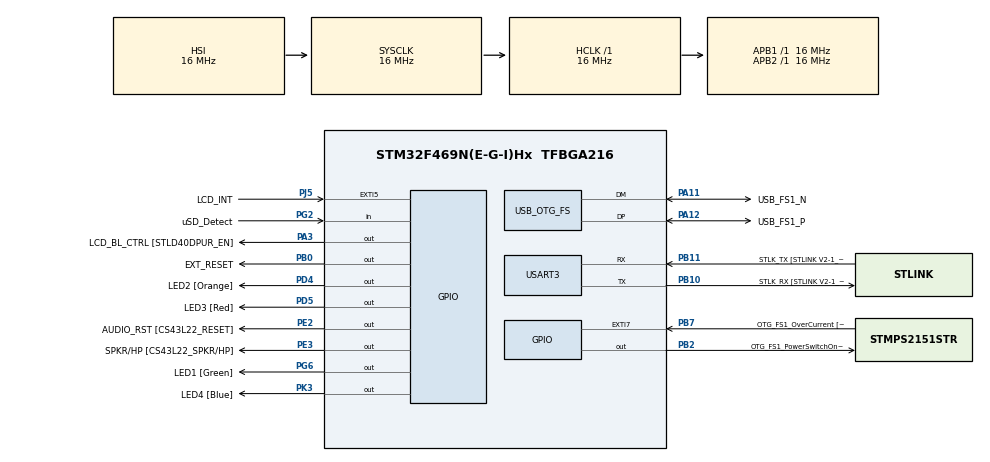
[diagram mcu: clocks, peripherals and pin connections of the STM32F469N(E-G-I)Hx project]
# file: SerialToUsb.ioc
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DSIHOST_CKN.GPIO_Label=DSI_CK_N
DSIHOST_CKN.Signal=DSIHOST_CKN
DSIHOST_CKP.GPIO_Label=DSI_CK_P
DSIHOST_CKP.Signal=DSIHOST_CKP
DSIHOST_D0N.GPIO_Label=DSI_D0_N
DSIHOST_D0N.Signal=DSIHOST_D0N
DSIHOST_D0P.GPIO_Label=DSI_D0_P
DSIHOST_D0P.Signal=DSIHOST_D0P
DSIHOST_D1N.GPIO_Label=DSI_D1_N
DSIHOST_D1N.Signal=DSIHOST_D1N
DSIHOST_D1P.GPIO_Label=DSI_D1_P
DSIHOST_D1P.Signal=DSIHOST_D1P
Mcu.Family=STM32F4
Mcu.Name=STM32F469N(E-G-I)Hx
Mcu.Package=TFBGA216
NVIC.OTG_FS_IRQn=true\:0\:0\:false\:false\:true
NVIC.PriorityGroup=NVIC_PRIORITYGROUP_4
PA0/WKUP.GPIO_Label=WAKEUP [B2]
PA0/WKUP.Signal=SYS_WKUP
PA10.GPIO_Label=USB_FS1_ID
PA10.GPIO_Mode=GPIO_MODE_AF_PP
PA10.GPIO_PuPd=GPIO_NOPULL
PA10.GPIO_Speed=GPIO_SPEED_FREQ_VERY_HIGH
PA10.Signal=USB_OTG_FS_ID
PA11.GPIO_Label=USB_FS1_N
PA11.GPIO_Mode=GPIO_MODE_AF_PP
PA11.GPIO_PuPd=GPIO_NOPULL
PA11.GPIO_Speed=GPIO_SPEED_FREQ_VERY_HIGH
PA11.Mode=Device_Only
PA11.Signal=USB_OTG_FS_DM
PA12.GPIO_Label=USB_FS1_P
PA12.GPIO_Mode=GPIO_MODE_AF_PP
PA12.GPIO_PuPd=GPIO_NOPULL
PA12.GPIO_Speed=GPIO_SPEED_FREQ_VERY_HIGH
PA12.Mode=Device_Only
PA12.Signal=USB_OTG_FS_DP
PA13.GPIO_Label=SWDIO
PA13.Signal=SYS_JTMS-SWDIO
PA14.GPIO_Label=SWCLK
PA14.Signal=SYS_JTCK-SWCLK
PA3.GPIO_Label=LCD_BL_CTRL [STLD40DPUR_EN]
PA3.Signal=GPIO_Output
PA9.GPIO_Label=VBUS_FS1
PA9.GPIO_Mode=GPIO_MODE_AF_PP
PA9.GPIO_PuPd=GPIO_NOPULL
PA9.GPIO_Speed=GPIO_SPEED_FREQ_VERY_HIGH
PA9.Signal=USB_OTG_FS_VBUS
PB0.GPIO_Label=EXT_RESET
PB0.Signal=GPIO_Output
PB10.GPIO_Label=STLK_RX [STLINK V2-1_U2_RX]
PB10.Mode=Asynchronous
PB10.Signal=USART3_TX
PB11.GPIO_Label=STLK_TX [STLINK V2-1_U2_TX]
PB11.Mode=Asynchronous
PB11.Signal=USART3_RX
PB2/BOOT1.GPIO_Label=OTG_FS1_PowerSwitchOn [STMPS2151STR_En]
PB2/BOOT1.Signal=GPIO_Output
PB3.GPIO_Label=I2S3_CK
PB3.GPIO_Mode=GPIO_MODE_AF_PP
PB3.GPIO_PuPd=GPIO_NOPULL
PB3.GPIO_Speed=GPIO_SPEED_FREQ_LOW
PB3.Signal=I2S3_CK
PB6.GPIO_Label=QSPI_BK1_NCS [N25Q128A13EF840F_S]
PB6.GPIO_Mode=GPIO_MODE_AF_PP
PB6.GPIO_PuPd=GPIO_NOPULL
PB6.GPIO_Speed=GPIO_SPEED_FREQ_VERY_HIGH
PB6.Signal=QUADSPI_BK1_NCS
PB7.GPIO_Label=OTG_FS1_OverCurrent [STMPS2151STR_FAULT]
PB7.GPIO_ModeDefaultEXTI=GPIO_MODE_IT_RISING
PB7.GPIO_PuPd=GPIO_NOPULL
PB7.Signal=GPXTI7
PB8.GPIO_Label=I2C1_SCL
PB8.GPIO_Mode=GPIO_MODE_AF_OD
PB8.GPIO_PuPdOD=GPIO_PULLUP
PB8.GPIO_Speed=GPIO_SPEED_FREQ_VERY_HIGH
PB8.Signal=I2C1_SCL
PB9.GPIO_Label=I2C1_SDA
PB9.GPIO_Mode=GPIO_MODE_AF_OD
PB9.GPIO_PuPdOD=GPIO_PULLUP
PB9.GPIO_Speed=GPIO_SPEED_FREQ_VERY_HIGH
PB9.Signal=I2C1_SDA
PC0.GPIO_Label=SDNWE [MT48LC4M32B2B5-6A_WE]
PC0.Signal=FMC_SDNWE
PC10.GPIO_Label=uSD_D2
PC10.GPIO_Mode=GPIO_MODE_AF_PP
PC10.GPIO_PuPd=GPIO_NOPULL
PC10.GPIO_Speed_High_Default=GPIO_SPEED_FREQ_VERY_HIGH
PC10.Signal=SDIO_D2
PC11.GPIO_Label=uSD_D3
PC11.GPIO_Mode=GPIO_MODE_AF_PP
PC11.GPIO_PuPd=GPIO_NOPULL
PC11.GPIO_Speed_High_Default=GPIO_SPEED_FREQ_VERY_HIGH
PC11.Signal=SDIO_D3
PC12.GPIO_Label=uSD_CLK
PC12.GPIO_Mode=GPIO_MODE_AF_PP
PC12.GPIO_PuPd=GPIO_NOPULL
PC12.GPIO_Speed_High_Default=GPIO_SPEED_FREQ_VERY_HIGH
PC12.Signal=SDIO_CK
PC14/OSC32_IN.Signal=RCC_OSC32_IN
PC15/OSC32_OUT.Signal=RCC_OSC32_OUT
PC8.GPIO_Label=uSD_D0
PC8.GPIO_Mode=GPIO_MODE_AF_PP
PC8.GPIO_PuPd=GPIO_NOPULL
PC8.GPIO_Speed_High_Default=GPIO_SPEED_FREQ_VERY_HIGH
PC8.Signal=SDIO_D0
PC9.GPIO_Label=uSD_D1
PC9.GPIO_Mode=GPIO_MODE_AF_PP
PC9.GPIO_PuPd=GPIO_NOPULL
PC9.GPIO_Speed_High_Default=GPIO_SPEED_FREQ_VERY_HIGH
PC9.Signal=SDIO_D1
PD0.GPIO_Label=D2
PD0.GPIO_Mode=GPIO_MODE_AF_PP
PD0.GPIO_PuPd=GPIO_NOPULL
PD0.GPIO_Speed_High_Default=GPIO_SPEED_FREQ_VERY_HIGH
PD0.Signal=FMC_D2_DA2
PD1.GPIO_Label=D3
PD1.GPIO_Mode=GPIO_MODE_AF_PP
PD1.GPIO_PuPd=GPIO_NOPULL
PD1.GPIO_Speed_High_Default=GPIO_SPEED_FREQ_VERY_HIGH
PD1.Signal=FMC_D3_DA3
PD10.GPIO_Label=D15
PD10.Signal=FMC_D15_DA15
PD13.GPIO_Label=MIC_CK [MP34DT01TR_CLK]
PD13.Signal=S_TIM4_CH2
PD14.GPIO_Label=D0
PD14.Signal=FMC_D0_DA0
PD15.GPIO_Label=D1
PD15.Signal=FMC_D1_DA1
PD2.GPIO_Label=uSD_CMD
PD2.GPIO_Mode=GPIO_MODE_AF_PP
PD2.GPIO_PuPd=GPIO_NOPULL
PD2.GPIO_Speed_High_Default=GPIO_SPEED_FREQ_VERY_HIGH
PD2.Signal=SDIO_CMD
PD4.GPIO_Label=LED2 [Orange]
PD4.GPIO_ModeDefaultOutputPP=GPIO_MODE_OUTPUT_OD
PD4.GPIO_PuPd=GPIO_NOPULL
PD4.GPIO_Speed=GPIO_SPEED_FREQ_LOW
PD4.Signal=GPIO_Output
PD5.GPIO_Label=LED3 [Red]
PD5.GPIO_ModeDefaultOutputPP=GPIO_MODE_OUTPUT_OD
PD5.GPIO_PuPd=GPIO_NOPULL
PD5.GPIO_Speed=GPIO_SPEED_FREQ_LOW
PD5.Signal=GPIO_Output
PD6.GPIO_Label=MIC_DATA [MP34DT01TR_DOUT]
PD6.GPIO_Mode=GPIO_MODE_AF_PP
PD6.GPIO_PuPd=GPIO_NOPULL
PD6.GPIO_Speed=GPIO_SPEED_FREQ_LOW
PD6.Signal=SAI1_SD_A
PD8.GPIO_Label=D13
PD8.Signal=FMC_D13_DA13
PD9.GPIO_Label=D14
PD9.Signal=FMC_D14_DA14
PE0.GPIO_Label=FMC_NBL0 [ MT48LC4M32B2B5-6A_DQM0]
PE0.GPIO_Mode=GPIO_MODE_AF_PP
PE0.GPIO_PuPd=GPIO_NOPULL
PE0.GPIO_Speed_High_Default=GPIO_SPEED_FREQ_VERY_HIGH
PE0.Signal=FMC_NBL0
PE1.GPIO_Label=FMC_NBL1 [ MT48LC4M32B2B5-6A_DQM1]
PE1.GPIO_Mode=GPIO_MODE_AF_PP
PE1.GPIO_PuPd=GPIO_NOPULL
PE1.GPIO_Speed_High_Default=GPIO_SPEED_FREQ_VERY_HIGH
PE1.Signal=FMC_NBL1
PE10.GPIO_Label=D7
PE10.Signal=FMC_D7_DA7
PE11.GPIO_Label=D8
PE11.Signal=FMC_D8_DA8
PE12.GPIO_Label=D9
PE12.Signal=FMC_D9_DA9
PE13.GPIO_Label=D10
PE13.Signal=FMC_D10_DA10
PE14.GPIO_Label=D11
PE14.Signal=FMC_D11_DA11
PE15.GPIO_Label=D12
PE15.Signal=FMC_D12_DA12
PE2.GPIO_Label=AUDIO_RST [CS43L22_RESET]
PE2.GPIO_ModeDefaultOutputPP=GPIO_MODE_OUTPUT_PP
PE2.GPIO_PuPd=GPIO_NOPULL
PE2.GPIO_Speed=GPIO_SPEED_FREQ_LOW
PE2.Signal=GPIO_Output
PE3.GPIO_Label=SPKR/HP [CS43L22_SPKR/HP]
PE3.GPIO_ModeDefaultOutputPP=GPIO_MODE_OUTPUT_PP
PE3.GPIO_PuPd=GPIO_NOPULL
PE3.GPIO_Speed=GPIO_SPEED_FREQ_LOW
PE3.Signal=GPIO_Output
PE4.GPIO_Label=SAI1_FSA [CS43L22_LRCK]
PE4.GPIO_Mode=GPIO_MODE_AF_PP
PE4.GPIO_PuPd=GPIO_NOPULL
PE4.GPIO_Speed=GPIO_SPEED_FREQ_LOW
PE4.Signal=SAI1_FS_A
PE5.GPIO_Label=SAI1_SCKA [CS43L22_CLK]
PE5.GPIO_Mode=GPIO_MODE_AF_PP
PE5.GPIO_PuPd=GPIO_NOPULL
PE5.GPIO_Speed=GPIO_SPEED_FREQ_LOW
PE5.Signal=SAI1_SCK_A
PE7.GPIO_Label=D4
PE7.Signal=FMC_D4_DA4
PE8.GPIO_Label=D5
PE8.Signal=FMC_D5_DA5
PE9.GPIO_Label=D6
PE9.Signal=FMC_D6_DA6
PF0.GPIO_Label=A0
PF0.GPIO_Mode=GPIO_MODE_AF_PP
PF0.GPIO_PuPd=GPIO_NOPULL
PF0.GPIO_Speed_High_Default=GPIO_SPEED_FREQ_VERY_HIGH
PF0.Signal=FMC_A0
PF1.GPIO_Label=A1
PF1.GPIO_Mode=GPIO_MODE_AF_PP
PF1.GPIO_PuPd=GPIO_NOPULL
PF1.GPIO_Speed_High_Default=GPIO_SPEED_FREQ_VERY_HIGH
PF1.Signal=FMC_A1
PF10.GPIO_Label=QSPI_CLK [N25Q128A13EF840F_C]
PF10.Signal=QUADSPI_CLK
PF11.GPIO_Label=SDNMT48LC4M32B2B5-6A_RAS]RAS [
PF11.Signal=FMC_SDNRAS
PF12.GPIO_Label=A6
PF12.Signal=FMC_A6
PF13.GPIO_Label=A7
PF13.Signal=FMC_A7
PF14.GPIO_Label=A8
PF14.Signal=FMC_A8
PF15.GPIO_Label=A9
PF15.Signal=FMC_A9
PF2.GPIO_Label=A2
PF2.GPIO_Mode=GPIO_MODE_AF_PP
PF2.GPIO_PuPd=GPIO_NOPULL
PF2.GPIO_Speed_High_Default=GPIO_SPEED_FREQ_VERY_HIGH
PF2.Signal=FMC_A2
PF3.GPIO_Label=A3
PF3.GPIO_Mode=GPIO_MODE_AF_PP
PF3.GPIO_PuPd=GPIO_NOPULL
PF3.GPIO_Speed_High_Default=GPIO_SPEED_FREQ_VERY_HIGH
PF3.Signal=FMC_A3
PF4.GPIO_Label=A4
PF4.GPIO_Mode=GPIO_MODE_AF_PP
PF4.GPIO_PuPd=GPIO_NOPULL
PF4.GPIO_Speed_High_Default=GPIO_SPEED_FREQ_VERY_HIGH
PF4.Signal=FMC_A4
PF5.GPIO_Label=A5
PF5.Signal=FMC_A5
PF6.GPIO_Label=QSPI_BK1_IO3 [N25Q128A13EF840F_DQ3]
PF6.Signal=QUADSPI_BK1_IO3
PF7.GPIO_Label=QSPI_BK1_IO2 [N25Q128A13EF840F_DQ2]
PF7.Signal=QUADSPI_BK1_IO2
PF8.GPIO_Label=QSPI_BK1_IO0 [N25Q128A13EF840F_DQ0]
PF8.Signal=QUADSPI_BK1_IO0
PF9.GPIO_Label=QSPI_BK1_IO1 [N25Q128A13EF840F_DQ1]
PF9.Signal=QUADSPI_BK1_IO1
PG0.GPIO_Label=A10
PG0.Signal=FMC_A10
PG1.GPIO_Label=A11
PG1.Signal=FMC_A11
PG14.GPIO_Label=ARDUINO USART6_TX
PG14.GPIO_Mode=GPIO_MODE_AF_PP
PG14.GPIO_PuPd=GPIO_NOPULL
PG14.GPIO_Speed=GPIO_SPEED_FREQ_VERY_HIGH
PG14.Signal=USART6_TX
PG15.GPIO_Label=SDNCAS [MT48LC4M32B2B5-6A_CAS]
PG15.GPIO_Mode=GPIO_MODE_AF_PP
PG15.GPIO_PuPd=GPIO_NOPULL
PG15.GPIO_Speed_High_Default=GPIO_SPEED_FREQ_VERY_HIGH
PG15.Signal=FMC_SDNCAS
PG2.GPIO_Label=uSD_Detect
PG2.Signal=GPIO_Input
PG4.Signal=FMC_A14_BA0
PG5.Signal=FMC_A15_BA1
PG6.GPIO_Label=LED1 [Green]
PG6.GPIO_ModeDefaultOutputPP=GPIO_MODE_OUTPUT_OD
PG6.GPIO_PuPd=GPIO_NOPULL
PG6.GPIO_Speed=GPIO_SPEED_FREQ_LOW
PG6.Signal=GPIO_Output
PG7.GPIO_Label=SAI1_MCLKA [CS43L22_MCLK]
PG7.GPIO_Mode=GPIO_MODE_AF_PP
PG7.GPIO_PuPd=GPIO_NOPULL
PG7.GPIO_Speed=GPIO_SPEED_FREQ_LOW
PG7.Signal=SAI1_MCLK_A
PG8.GPIO_Label=SDCLK [MT48LC4M32B2B5-6A_CLK]
PG8.GPIO_Mode=GPIO_MODE_AF_PP
PG8.GPIO_PuPd=GPIO_NOPULL
PG8.GPIO_Speed_High_Default=GPIO_SPEED_FREQ_VERY_HIGH
PG8.Signal=FMC_SDCLK
PG9.GPIO_Label=USART6_RX
PG9.GPIO_Mode=GPIO_MODE_AF_PP
PG9.GPIO_PuPd=GPIO_NOPULL
PG9.GPIO_Speed=GPIO_SPEED_FREQ_VERY_HIGH
PG9.Signal=USART6_RX
PH0/OSC_IN.Mode=HSE-External-Oscillator
PH0/OSC_IN.Signal=RCC_OSC_IN
PH1/OSC_OUT.Mode=HSE-External-Oscillator
PH1/OSC_OUT.Signal=RCC_OSC_OUT
PH10.GPIO_Label=D18
PH10.Signal=FMC_D18
PH11.GPIO_Label=D19
PH11.Signal=FMC_D19
PH12.GPIO_Label=D20
PH12.Signal=FMC_D20
PH13.GPIO_Label=D21
PH13.GPIO_Mode=GPIO_MODE_AF_PP
PH13.GPIO_PuPd=GPIO_NOPULL
PH13.GPIO_Speed_High_Default=GPIO_SPEED_FREQ_VERY_HIGH
PH13.Signal=FMC_D21
PH14.GPIO_Label=D22
PH14.GPIO_Mode=GPIO_MODE_AF_PP
PH14.GPIO_PuPd=GPIO_NOPULL
PH14.GPIO_Speed_High_Default=GPIO_SPEED_FREQ_VERY_HIGH
PH14.Signal=FMC_D22
PH15.GPIO_Label=D23
PH15.GPIO_Mode=GPIO_MODE_AF_PP
PH15.GPIO_PuPd=GPIO_NOPULL
PH15.GPIO_Speed_High_Default=GPIO_SPEED_FREQ_VERY_HIGH
PH15.Signal=FMC_D23
PH2.GPIO_Label=SDCKE0 [MT48LC4M32B2B5-6A_CKE]
PH2.Signal=FMC_SDCKE0
PH3.GPIO_Label=SDNE0 [MT48LC4M32B2B5-6A_CS]
PH3.GPIO_Mode=GPIO_MODE_AF_PP
PH3.GPIO_PuPd=GPIO_NOPULL
PH3.GPIO_Speed_High_Default=GPIO_SPEED_FREQ_VERY_HIGH
PH3.Signal=FMC_SDNE0
PH4.GPIO_Label=I2C2_SCL [CS43L22_SCL]
PH4.GPIO_Mode=GPIO_MODE_AF_OD
PH4.GPIO_PuPdOD=GPIO_PULLUP
PH4.GPIO_Speed=GPIO_SPEED_FREQ_VERY_HIGH
PH4.Signal=I2C2_SCL
PH5.GPIO_Label=I2C2_SDA [CS43L22_SDA]
PH5.GPIO_Mode=GPIO_MODE_AF_OD
PH5.GPIO_PuPdOD=GPIO_PULLUP
PH5.GPIO_Speed=GPIO_SPEED_FREQ_VERY_HIGH
PH5.Signal=I2C2_SDA
PH8.GPIO_Label=D16
PH8.Signal=FMC_D16
PH9.GPIO_Label=D17
PH9.Signal=FMC_D17
PI0.GPIO_Label=D24
PI0.GPIO_Mode=GPIO_MODE_AF_PP
PI0.GPIO_PuPd=GPIO_NOPULL
PI0.GPIO_Speed_High_Default=GPIO_SPEED_FREQ_VERY_HIGH
PI0.Signal=FMC_D24
PI1.GPIO_Label=D25
PI1.GPIO_Mode=GPIO_MODE_AF_PP
PI1.GPIO_PuPd=GPIO_NOPULL
PI1.GPIO_Speed_High_Default=GPIO_SPEED_FREQ_VERY_HIGH
PI1.Signal=FMC_D25
PI10.GPIO_Label=D31
PI10.GPIO_Mode=GPIO_MODE_AF_PP
PI10.GPIO_PuPd=GPIO_NOPULL
PI10.GPIO_Speed_High_Default=GPIO_SPEED_FREQ_VERY_HIGH
PI10.Signal=FMC_D31
PI2.GPIO_Label=D26
PI2.GPIO_Mode=GPIO_MODE_AF_PP
PI2.GPIO_PuPd=GPIO_NOPULL
PI2.GPIO_Speed_High_Default=GPIO_SPEED_FREQ_VERY_HIGH
PI2.Signal=FMC_D26
PI3.GPIO_Label=D27
PI3.GPIO_Mode=GPIO_MODE_AF_PP
PI3.GPIO_PuPd=GPIO_NOPULL
PI3.GPIO_Speed_High_Default=GPIO_SPEED_FREQ_VERY_HIGH
PI3.Signal=FMC_D27
PI4.GPIO_Label=FMC_NBL2 [MT48LC4M32B2B5-6A_DQM2]
PI4.GPIO_Mode=GPIO_MODE_AF_PP
PI4.GPIO_PuPd=GPIO_NOPULL
PI4.GPIO_Speed_High_Default=GPIO_SPEED_FREQ_VERY_HIGH
PI4.Signal=FMC_NBL2
PI5.GPIO_Label=FMC_NBL3 [MT48LC4M32B2B5-6A_DQM3]
PI5.GPIO_Mode=GPIO_MODE_AF_PP
PI5.GPIO_PuPd=GPIO_NOPULL
PI5.GPIO_Speed_High_Default=GPIO_SPEED_FREQ_VERY_HIGH
PI5.Signal=FMC_NBL3
PI6.GPIO_Label=D28
PI6.GPIO_Mode=GPIO_MODE_AF_PP
PI6.GPIO_PuPd=GPIO_NOPULL
PI6.GPIO_Speed_High_Default=GPIO_SPEED_FREQ_VERY_HIGH
PI6.Signal=FMC_D28
PI7.GPIO_Label=D29
PI7.GPIO_Mode=GPIO_MODE_AF_PP
PI7.GPIO_PuPd=GPIO_NOPULL
PI7.GPIO_Speed_High_Default=GPIO_SPEED_FREQ_VERY_HIGH
PI7.Signal=FMC_D29
PI9.GPIO_Label=D30
PI9.GPIO_Mode=GPIO_MODE_AF_PP
PI9.GPIO_PuPd=GPIO_NOPULL
PI9.GPIO_Speed_High_Default=GPIO_SPEED_FREQ_VERY_HIGH
PI9.Signal=FMC_D30
PJ2.GPIO_Label=DSI_TE
PJ2.Signal=DSIHOST_TE
PJ5.GPIO_Label=LCD_INT
PJ5.Signal=GPXTI5
PK3.GPIO_Label=LED4 [Blue]
PK3.GPIO_ModeDefaultOutputPP=GPIO_MODE_OUTPUT_OD
PK3.GPIO_PuPd=GPIO_NOPULL
PK3.GPIO_Speed=GPIO_SPEED_FREQ_LOW
PK3.Signal=GPIO_Output
ProjectManager.HeapSize=0x200
ProjectManager.StackSize=0x400
ProjectManager.TargetToolchain=SW4STM32
RCC.AHBFreq_Value=16000000
RCC.APB1Freq_Value=16000000
RCC.APB1TimFreq_Value=16000000
RCC.APB2Freq_Value=16000000
RCC.APB2TimFreq_Value=16000000
RCC.CortexFreq_Value=16000000
RCC.HCLKFreq_Value=16000000
RCC.HSE_VALUE=8000000
RCC.PLLM=4
RCC.PLLN=72
RCC.PLLQ=3
RCC.SYSCLKFreq_VALUE=16000000
RCC.USBFreq_Value=48000000
RCC.VCOOutputFreq_Value=144000000
SH.FMC_A0.0=FMC_A0
SH.FMC_A1.0=FMC_A1
SH.FMC_A10.0=FMC_A10
SH.FMC_A11.0=FMC_A11
SH.FMC_A14_BA0.0=FMC_BA0
SH.FMC_A15_BA1.0=FMC_BA1
SH.FMC_A2.0=FMC_A2
SH.FMC_A3.0=FMC_A3
SH.FMC_A4.0=FMC_A4
SH.FMC_A5.0=FMC_A5
SH.FMC_A6.0=FMC_A6
SH.FMC_A7.0=FMC_A7
SH.FMC_A8.0=FMC_A8
SH.FMC_A9.0=FMC_A9
SH.FMC_D0_DA0.0=FMC_D0
SH.FMC_D10_DA10.0=FMC_D10
SH.FMC_D11_DA11.0=FMC_D11
SH.FMC_D12_DA12.0=FMC_D12
SH.FMC_D13_DA13.0=FMC_D13
SH.FMC_D14_DA14.0=FMC_D14
SH.FMC_D15_DA15.0=FMC_D15
SH.FMC_D16.0=FMC_D16
SH.FMC_D17.0=FMC_D17
SH.FMC_D18.0=FMC_D18
SH.FMC_D19.0=FMC_D19
SH.FMC_D1_DA1.0=FMC_D1
SH.FMC_D20.0=FMC_D20
SH.FMC_D21.0=FMC_D21
SH.FMC_D22.0=FMC_D22
SH.FMC_D23.0=FMC_D23
SH.FMC_D24.0=FMC_D24
SH.FMC_D25.0=FMC_D25
SH.FMC_D26.0=FMC_D26
SH.FMC_D27.0=FMC_D27
SH.FMC_D28.0=FMC_D28
SH.FMC_D29.0=FMC_D29
SH.FMC_D2_DA2.0=FMC_D2
SH.FMC_D30.0=FMC_D30
SH.FMC_D31.0=FMC_D31
SH.FMC_D3_DA3.0=FMC_D3
SH.FMC_D4_DA4.0=FMC_D4
SH.FMC_D5_DA5.0=FMC_D5
SH.FMC_D6_DA6.0=FMC_D6
SH.FMC_D7_DA7.0=FMC_D7
SH.FMC_D8_DA8.0=FMC_D8
SH.FMC_D9_DA9.0=FMC_D9
SH.FMC_NBL0.0=FMC_NBL0
SH.FMC_NBL1.0=FMC_NBL1
SH.FMC_NBL2.0=FMC_NBL2
SH.FMC_NBL3.0=FMC_NBL3
SH.FMC_SDCLK.0=FMC_SDCLK
SH.FMC_SDNCAS.0=FMC_SDNCAS
SH.FMC_SDNRAS.0=FMC_SDNRAS
SH.FMC_SDNWE.0=FMC_SDNWE
SH.S_TIM4_CH2.0=TIM4_CH2
USART3.VirtualMode=VM_ASYNC
USB_DEVICE.CLASS_NAME_FS=HID
USB_DEVICE.VirtualMode-CUSTOM_HID_FS=CustomHid
USB_DEVICE.VirtualMode-HID_FS=Hid
USB_DEVICE.VirtualModeFS=Hid_FS
USB_OTG_FS.VirtualMode=Device_Only
VP_USB_DEVICE_VS_USB_DEVICE_HID_FS.Mode=HID_FS
board=STM32F469I-DISCO

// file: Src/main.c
/**
 ******************************************************************************
 * File Name          : main.c
 * Description        : Main program body
 ******************************************************************************
 * This notice applies to any and all portions of this file
 * that are not between comment pairs USER CODE BEGIN and
 * USER CODE END. Other portions of this file, whether
 * inserted by the user or by software development tools
 * are owned by their respective copyright owners.
 *
 * Copyright (c) 2018 STMicroelectronics International N.V.
 * All rights reserved.
 *
 * Redistribution and use in source and binary forms, with or without
 * modification, are permitted, provided that the following conditions are met:
 *
 * 1. Redistribution of source code must retain the above copyright notice,
 *    this list of conditions and the following disclaimer.
 * 2. Redistributions in binary form must reproduce the above copyright notice,
 *    this list of conditions and the following disclaimer in the documentation
 *    and/or other materials provided with the distribution.
 * 3. Neither the name of STMicroelectronics nor the names of other
 *    contributors to this software may be used to endorse or promote products
 *    derived from this software without specific written permission.
 * 4. This software, including modifications and/or derivative works of this
 *    software, must execute solely and exclusively on microcontroller or
 *    microprocessor devices manufactured by or for STMicroelectronics.
 * 5. Redistribution and use of this software other than as permitted under
 *    this license is void and will automatically terminate your rights under
 *    this license.
 *
 * THIS SOFTWARE IS PROVIDED BY STMICROELECTRONICS AND CONTRIBUTORS "AS IS"
 * AND ANY EXPRESS, IMPLIED OR STATUTORY WARRANTIES, INCLUDING, BUT NOT
 * LIMITED TO, THE IMPLIED WARRANTIES OF MERCHANTABILITY, FITNESS FOR A
 * PARTICULAR PURPOSE AND NON-INFRINGEMENT OF THIRD PARTY INTELLECTUAL PROPERTY
 * RIGHTS ARE DISCLAIMED TO THE FULLEST EXTENT PERMITTED BY LAW. IN NO EVENT
 * SHALL STMICROELECTRONICS OR CONTRIBUTORS BE LIABLE FOR ANY DIRECT, INDIRECT,
 * INCIDENTAL, SPECIAL, EXEMPLARY, OR CONSEQUENTIAL DAMAGES (INCLUDING, BUT NOT
 * LIMITED TO, PROCUREMENT OF SUBSTITUTE GOODS OR SERVICES; LOSS OF USE, DATA,
 * OR PROFITS; OR BUSINESS INTERRUPTION) HOWEVER CAUSED AND ON ANY THEORY OF
 * LIABILITY, WHETHER IN CONTRACT, STRICT LIABILITY, OR TORT (INCLUDING
 * NEGLIGENCE OR OTHERWISE) ARISING IN ANY WAY OUT OF THE USE OF THIS SOFTWARE,
 * EVEN IF ADVISED OF THE POSSIBILITY OF SUCH DAMAGE.
 *
 ******************************************************************************
 */
#include "main.h"
#include "stm32f4xx_hal.h"
#include "usb_device.h"

/* USER CODE BEGIN Includes */
#include "hid_keyboard.h"

//#define OSX

/* USER CODE END Includes */

UART_HandleTypeDef huart3;

/* USER CODE BEGIN PV */
/* Private variables ---------------------------------------------------------*/

/* USER CODE END PV */

void SystemClock_Config(void);
static void MX_GPIO_Init(void);
static void MX_USART3_UART_Init(void);

/* USER CODE BEGIN PFP */
/* Private function prototypes -----------------------------------------------*/

/* USER CODE END PFP */

int main(void) {

	/* USER CODE BEGIN 1 */
	struct keyboardHID_t {
		uint8_t modifiers;
		uint8_t reserved;
		uint8_t key1;
	};
	struct keyboardHID_t keyboardHID;
	keyboardHID.modifiers = 0;
	keyboardHID.key1 = 0;

	/* USER CODE END 1 */

	/* MCU Configuration----------------------------------------------------------*/

	/* Reset of all peripherals, Initializes the Flash interface and the Systick. */
	HAL_Init();

	/* Configure the system clock */
	SystemClock_Config();

	/* Initialize all configured peripherals */
	MX_GPIO_Init();
	MX_USART3_UART_Init();
	MX_USB_DEVICE_Init();

	/* USER CODE BEGIN 2 */
	uint8_t receivedData[3];
	uint8_t send = 0;

	/* USER CODE END 2 */

	/* Infinite loop */
	while (1) {

		/* USER CODE BEGIN 3 */
		receivedData[0] = 0;
		receivedData[1] = 0;
		receivedData[2] = 0;

		HAL_UART_Receive(&huart3, receivedData, 3, 10);
		HAL_UART_Transmit(&huart3, receivedData, 3, 10);

		//Capital letters
		if (receivedData[0] >= 0x41 && receivedData[0] <= 0x5A) {
			keyboardHID.key1 = KB_A + (receivedData[0] - 0x41);
			keyboardHID.modifiers = 0x02;
			send = 1;
		}
		//lower case letters
		else if (receivedData[0] >= 0x61 && receivedData[0] <= 0x7A) {
			keyboardHID.key1 = KB_A + (receivedData[0] - 0x61);
			keyboardHID.modifiers = 0;
			send = 1;
		}
		//Enter
		else if (receivedData[0] == 0x0D) {
			keyboardHID.key1 = KB_ENTER;
			keyboardHID.modifiers = 0;
			send = 1;
		}
		//Space
		else if (receivedData[0] == 0x20) {
			keyboardHID.key1 = KB_SPACEBAR;
			keyboardHID.modifiers = 0;
			send = 1;
		}
		//Numbers 1-9
		else if (receivedData[0] >= 0x31 && receivedData[0] <= 0x39) {
			keyboardHID.key1 = KB_1 + (receivedData[0] - 0x31);
			keyboardHID.modifiers = 0;
			send = 1;
		}
		//Number 0
		else if (receivedData[0] == 0x30) {
			keyboardHID.key1 = KB_0;
			keyboardHID.modifiers = 0;
			send = 1;
		}
		//!
		else if (receivedData[0] == ASCII_EXCLAMATION) {
			keyboardHID.key1 = KB_1;
			keyboardHID.modifiers = 0x02;
			send = 1;
		}
		//@
		else if (receivedData[0] == ASCII_AT) {
			keyboardHID.key1 = KB_2;
			keyboardHID.modifiers = 0x02;
			send = 1;
		}
		//#
		else if (receivedData[0] == ASCII_POUND) {
			keyboardHID.key1 = KB_3;
			keyboardHID.modifiers = 0x02;
			send = 1;
		}
		//$
		else if (receivedData[0] == ASCII_DOLLAR) {
			keyboardHID.key1 = KB_4;
			keyboardHID.modifiers = 0x02;
			send = 1;
		}

		//%
		else if (receivedData[0] == ASCII_PERCENTAGE) {
			keyboardHID.key1 = KB_5;
			keyboardHID.modifiers = 0x02;
			send = 1;
		}
		//^
		else if (receivedData[0] == ASCII_CARET) {
			keyboardHID.key1 = KB_6;
			keyboardHID.modifiers = 0x02;
			send = 1;
		}
		//&
		else if (receivedData[0] == ASCII_AND) {
			keyboardHID.key1 = KB_7;
			keyboardHID.modifiers = 0x02;
			send = 1;
		}
		//*
		else if (receivedData[0] == ASCII_STAR) {
			keyboardHID.key1 = KB_8;
			keyboardHID.modifiers = 0x02;
			send = 1;
		}
		//(
		else if (receivedData[0] == ASCII_LEFT_PARENTH) {
			keyboardHID.key1 = KB_9;
			keyboardHID.modifiers = 0x02;
			send = 1;
		}
		//)
		else if (receivedData[0] == ASCII_RIGHT_PARENTH) {
			keyboardHID.key1 = KB_0;
			keyboardHID.modifiers = 0x02;
			send = 1;
		}

		//`
		else if (receivedData[0] == ASCII_ACUTE) {
					keyboardHID.key1 = KB_ACUTE;
					keyboardHID.modifiers = 0x00;
					send = 1;
				}
		//~
		else if (receivedData[0] == ASCII_TILDE) {
					keyboardHID.key1 = KB_ACUTE;
					keyboardHID.modifiers = 0x02;
					send = 1;
				}
		//{
		else if (receivedData[0] == ASCII_OPEN_BRACE) {
					keyboardHID.key1 = KB_OPEN_BRACKET;
					keyboardHID.modifiers = 0x02;
					send = 1;
				}
		//[
		else if (receivedData[0] == ASCII_OPEN_BRACKET) {
					keyboardHID.key1 = KB_OPEN_BRACKET;
					keyboardHID.modifiers = 0x00;
					send = 1;
				}
		//}
		else if (receivedData[0] == ASCII_CLOSE_BRACE) {
					keyboardHID.key1 = KB_CLOSE_BRACKET;
					keyboardHID.modifiers = 0x02;
					send = 1;
				}
		//]
		else if (receivedData[0] == ASCII_CLOSE_BRACKET) {
					keyboardHID.key1 = KB_CLOSE_BRACKET;
					keyboardHID.modifiers = 0x00;
					send = 1;
				}
		// \

		else if (receivedData[0] == ASCII_BACKSLASH) {
					keyboardHID.key1 = KB_BACKSLASH;
					keyboardHID.modifiers = 0x00;
					send = 1;
				}
		//|
		else if (receivedData[0] == ASCII_PIPE) {
					keyboardHID.key1 = KB_BACKSLASH;
					keyboardHID.modifiers = 0x02;
					send = 1;
				}
		//:
		else if (receivedData[0] == ASCII_COLON) {
					keyboardHID.key1 = KB_SEMICOLON;
					keyboardHID.modifiers = 0x02;
					send = 1;
				}
		//;
		else if (receivedData[0] == ASCII_SEMICOLON) {
					keyboardHID.key1 = KB_SEMICOLON;
					keyboardHID.modifiers = 0x00;
					send = 1;
				}
		//"
		else if (receivedData[0] == ASCII_QUOTE) {
					keyboardHID.key1 = KB_QUOTE;
					keyboardHID.modifiers = 0x02;
					send = 1;
				}
		//'
		else if (receivedData[0] == ASCII_APOSTROPHE) {
					keyboardHID.key1 = KB_QUOTE;
					keyboardHID.modifiers = 0x00;
					send = 1;
				}
		//<
		else if (receivedData[0] == ASCII_LESS_THAN) {
					keyboardHID.key1 = KB_LESS_THAN;
					keyboardHID.modifiers = 0x02;
					send = 1;
				}
		//,
		else if (receivedData[0] == ASCII_COMMA) {
					keyboardHID.key1 = KB_LESS_THAN;
					keyboardHID.modifiers = 0x00;
					send = 1;
				}
		//>
		else if (receivedData[0] == ASCII_GREATER_THAN) {
					keyboardHID.key1 = KB_GREATER_THAN;
					keyboardHID.modifiers = 0x02;
					send = 1;
				}
		//.
		else if (receivedData[0] == ASCII_PERIOD) {
					keyboardHID.key1 = KB_GREATER_THAN;
					keyboardHID.modifiers = 0x00;
					send = 1;
				}
		//?
		else if (receivedData[0] == ASCII_QUESTION_MARK) {
					keyboardHID.key1 = KB_FORWARD_SLASH;
					keyboardHID.modifiers = 0x02;
					send = 1;
				}
		///
		else if (receivedData[0] == ASCII_FORWARD_SLASH) {
					keyboardHID.key1 = KB_FORWARD_SLASH;
					keyboardHID.modifiers = 0x00;
					send = 1;
				}
		//-
		else if (receivedData[0] == ASCII_DASH) {
					keyboardHID.key1 = KB_DASH;
					keyboardHID.modifiers = 0x00;
					send = 1;
				}
		//_
		else if (receivedData[0] == ASCII_UNDERSCORE) {
					keyboardHID.key1 = KB_DASH;
					keyboardHID.modifiers = 0x02;
					send = 1;
				}
		//+
		else if (receivedData[0] == ASCII_PLUS){
					keyboardHID.key1 = KB_EQUALS;
					keyboardHID.modifiers = 0x02;
					send = 1;
				}
		//=
		else if (receivedData[0] == ASCII_EQUALS) {
					keyboardHID.key1 = KB_EQUALS;
					keyboardHID.modifiers = 0x00;
					send = 1;
				}

		//Up arrow
#ifdef OSX
		else if (receivedData[0] == 0xe2 && receivedData[1] == 0x88
				&& receivedData[2] == 0x91) {

#else
		else if (receivedData[0] == 0x1b && receivedData[1] == ASCII_w) {
#endif
			keyboardHID.key1 = KB_UP;
			keyboardHID.modifiers = 0;
			send = 1;
		}

		//Left arrow
#ifdef OSX
		else if (receivedData[0] == 0xc3 && receivedData[1] == 0xa5) {

#else
		else if (receivedData[0] == 0x1b && receivedData[1] == ASCII_a) {
#endif
			keyboardHID.key1 = KB_LEFT;
			keyboardHID.modifiers = 0;
			send = 1;
		}
		//Down arrow

#ifdef OSX
		else if (receivedData[0] == 0xc3 && receivedData[1] == 0x9f) {

#else
		else if (receivedData[0] == 0x1b && receivedData[1] == ASCII_s) {

#endif
			keyboardHID.key1 = KB_DOWN;
			keyboardHID.modifiers = 0;
			send = 1;
		}
		//right arrow

#ifdef OSX
		else if (receivedData[0] == 0xe2 && receivedData[1] == 0x88
				&& receivedData[2] == 0x82) {

#else
		else if (receivedData[0] == 0x1b && receivedData[1] == ASCII_d) {

#endif
			keyboardHID.key1 = KB_RIGHT;
			keyboardHID.modifiers = 0;
			send = 1;
		}
		//Backspace
#ifdef OSX
		else if (receivedData[0] == 0xc5 && receivedData[1] == 0x93) {
#else
		else if (receivedData[0] == 0x1b && receivedData[1] == ASCII_q) {
#endif

			keyboardHID.key1 = KB_BACKSPC;
			keyboardHID.modifiers = 0;
			send = 1;
		}

#ifdef OSX
		//TODO: Add delete for OSX
#else
		else if (receivedData[0] == 0x1b && receivedData[1] == ASCII_e) {
#endif
			keyboardHID.key1 = KB_DELETE;
			keyboardHID.modifiers = 0;
			send = 1;
		}
#ifdef wat
		if (receivedData[0] != 0) {
			keyboardHID.key1 = 0;
			keyboardHID.modifiers = 0;
			send = 1;

		}
#endif

		//Only send report if a key has been pressed
		if (send == 1) {
			USBD_HID_SendReport(&hUsbDeviceFS, &keyboardHID,
					sizeof(struct keyboardHID_t));
			HAL_Delay(30);
			keyboardHID.key1 = 0;
			keyboardHID.modifiers = 0;
			USBD_HID_SendReport(&hUsbDeviceFS, &keyboardHID,
					sizeof(struct keyboardHID_t));
			send = 0;
		}
	}

	/* USER CODE END 3 */

}

/** System Clock Configuration
 */
void SystemClock_Config(void) {

	RCC_OscInitTypeDef RCC_OscInitStruct;
	RCC_ClkInitTypeDef RCC_ClkInitStruct;
	RCC_PeriphCLKInitTypeDef PeriphClkInitStruct;

	/**Configure the main internal regulator output voltage
	 */
	__HAL_RCC_PWR_CLK_ENABLE()
	;

	__HAL_PWR_VOLTAGESCALING_CONFIG(PWR_REGULATOR_VOLTAGE_SCALE3);

	/**Initializes the CPU, AHB and APB busses clocks
	 */
	RCC_OscInitStruct.OscillatorType = RCC_OSCILLATORTYPE_HSI
			| RCC_OSCILLATORTYPE_HSE;
	RCC_OscInitStruct.HSEState = RCC_HSE_ON;
	RCC_OscInitStruct.HSIState = RCC_HSI_ON;
	RCC_OscInitStruct.HSICalibrationValue = 16;
	RCC_OscInitStruct.PLL.PLLState = RCC_PLL_ON;
	RCC_OscInitStruct.PLL.PLLSource = RCC_PLLSOURCE_HSE;
	RCC_OscInitStruct.PLL.PLLM = 4;
	RCC_OscInitStruct.PLL.PLLN = 72;
	RCC_OscInitStruct.PLL.PLLP = RCC_PLLP_DIV2;
	RCC_OscInitStruct.PLL.PLLQ = 3;
	RCC_OscInitStruct.PLL.PLLR = 2;
	if (HAL_RCC_OscConfig(&RCC_OscInitStruct) != HAL_OK) {
		_Error_Handler(__FILE__, __LINE__);
	}

	/**Initializes the CPU, AHB and APB busses clocks
	 */
	RCC_ClkInitStruct.ClockType = RCC_CLOCKTYPE_HCLK | RCC_CLOCKTYPE_SYSCLK
			| RCC_CLOCKTYPE_PCLK1 | RCC_CLOCKTYPE_PCLK2;
	RCC_ClkInitStruct.SYSCLKSource = RCC_SYSCLKSOURCE_HSI;
	RCC_ClkInitStruct.AHBCLKDivider = RCC_SYSCLK_DIV1;
	RCC_ClkInitStruct.APB1CLKDivider = RCC_HCLK_DIV1;
	RCC_ClkInitStruct.APB2CLKDivider = RCC_HCLK_DIV1;

	if (HAL_RCC_ClockConfig(&RCC_ClkInitStruct, FLASH_LATENCY_0) != HAL_OK) {
		_Error_Handler(__FILE__, __LINE__);
	}

	PeriphClkInitStruct.PeriphClockSelection = RCC_PERIPHCLK_CLK48;
	PeriphClkInitStruct.Clk48ClockSelection = RCC_CLK48CLKSOURCE_PLLQ;
	if (HAL_RCCEx_PeriphCLKConfig(&PeriphClkInitStruct) != HAL_OK) {
		_Error_Handler(__FILE__, __LINE__);
	}

	/**Configure the Systick interrupt time
	 */
	HAL_SYSTICK_Config(HAL_RCC_GetHCLKFreq() / 1000);

	/**Configure the Systick
	 */
	HAL_SYSTICK_CLKSourceConfig(SYSTICK_CLKSOURCE_HCLK);

	/* SysTick_IRQn interrupt configuration */
	HAL_NVIC_SetPriority(SysTick_IRQn, 0, 0);
}

/* USART3 init function */
static void MX_USART3_UART_Init(void) {

	huart3.Instance = USART3;
	huart3.Init.BaudRate = 115200;
	huart3.Init.WordLength = UART_WORDLENGTH_8B;
	huart3.Init.StopBits = UART_STOPBITS_1;
	huart3.Init.Parity = UART_PARITY_NONE;
	huart3.Init.Mode = UART_MODE_TX_RX;
	huart3.Init.HwFlowCtl = UART_HWCONTROL_NONE;
	huart3.Init.OverSampling = UART_OVERSAMPLING_16;
	if (HAL_UART_Init(&huart3) != HAL_OK) {
		_Error_Handler(__FILE__, __LINE__);
	}

}

/** Configure pins
 PE4   ------> SAI1_FS_A
 PG14   ------> USART6_TX
 PE1   ------> FMC_NBL1
 PE0   ------> FMC_NBL0
 PB8   ------> I2C1_SCL
 PB3   ------> I2S3_CK
 PC12   ------> SDIO_CK
 PE5   ------> SAI1_SCK_A
 PB9   ------> I2C1_SDA
 PB6   ------> QUADSPI_BK1_NCS
 PG15   ------> FMC_SDNCAS
 PD6   ------> SAI1_SD_A
 PD0   ------> FMC_D2_DA2
 PC11   ------> SDIO_D3
 PC10   ------> SDIO_D2
 PI4   ------> FMC_NBL2
 PD1   ------> FMC_D3_DA3
 PI3   ------> FMC_D27
 PI2   ------> FMC_D26
 PF0   ------> FMC_A0
 PI5   ------> FMC_NBL3
 PI7   ------> FMC_D29
 PI10   ------> FMC_D31
 PI6   ------> FMC_D28
 PG9   ------> USART6_RX
 PD2   ------> SDIO_CMD
 PH15   ------> FMC_D23
 PI1   ------> FMC_D25
 PF1   ------> FMC_A1
 PI9   ------> FMC_D30
 PH13   ------> FMC_D21
 PH14   ------> FMC_D22
 PI0   ------> FMC_D24
 PC9   ------> SDIO_D1
 PF2   ------> FMC_A2
 PC8   ------> SDIO_D0
 PF3   ------> FMC_A3
 PH4   ------> I2C2_SCL
 PG8   ------> FMC_SDCLK
 PF4   ------> FMC_A4
 PH5   ------> I2C2_SDA
 PH3   ------> FMC_SDNE0
 PG7   ------> SAI1_MCLK_A
 PF7   ------> QUADSPI_BK1_IO2
 PF6   ------> QUADSPI_BK1_IO3
 PF5   ------> FMC_A5
 PH2   ------> FMC_SDCKE0
 PD15   ------> FMC_D1_DA1
 PD10   ------> FMC_D15_DA15
 PF10   ------> QUADSPI_CLK
 PF9   ------> QUADSPI_BK1_IO1
 PF8   ------> QUADSPI_BK1_IO0
 PD14   ------> FMC_D0_DA0
 PD9   ------> FMC_D14_DA14
 PD8   ------> FMC_D13_DA13
 PC0   ------> FMC_SDNWE
 PF12   ------> FMC_A6
 PG1   ------> FMC_A11
 PF15   ------> FMC_A9
 PD13   ------> S_TIM4_CH2
 PH12   ------> FMC_D20
 PF13   ------> FMC_A7
 PG0   ------> FMC_A10
 PE8   ------> FMC_D5_DA5
 PG5   ------> FMC_A15_BA1
 PG4   ------> FMC_A14_BA0
 PH9   ------> FMC_D17
 PH11   ------> FMC_D19
 PF14   ------> FMC_A8
 PJ2   ------> DSIHOST_TE
 PF11   ------> FMC_SDNRAS
 PE9   ------> FMC_D6_DA6
 PE11   ------> FMC_D8_DA8
 PE14   ------> FMC_D11_DA11
 PH8   ------> FMC_D16
 PH10   ------> FMC_D18
 PE7   ------> FMC_D4_DA4
 PE10   ------> FMC_D7_DA7
 PE12   ------> FMC_D9_DA9
 PE15   ------> FMC_D12_DA12
 PE13   ------> FMC_D10_DA10
 */
static void MX_GPIO_Init(void) {

	GPIO_InitTypeDef GPIO_InitStruct;

	/* GPIO Ports Clock Enable */
	__HAL_RCC_GPIOE_CLK_ENABLE()
	;
	__HAL_RCC_GPIOG_CLK_ENABLE()
	;
	__HAL_RCC_GPIOB_CLK_ENABLE()
	;
	__HAL_RCC_GPIOC_CLK_ENABLE()
	;
	__HAL_RCC_GPIOA_CLK_ENABLE()
	;
	__HAL_RCC_GPIOD_CLK_ENABLE()
	;
	__HAL_RCC_GPIOI_CLK_ENABLE()
	;
	__HAL_RCC_GPIOF_CLK_ENABLE()
	;
	__HAL_RCC_GPIOK_CLK_ENABLE()
	;
	__HAL_RCC_GPIOH_CLK_ENABLE()
	;
	__HAL_RCC_GPIOJ_CLK_ENABLE()
	;

	/*Configure GPIO pin Output Level */
	HAL_GPIO_WritePin(GPIOE, SPKR_HP_Pin | AUDIO_RST_Pin, GPIO_PIN_RESET);

	/*Configure GPIO pin Output Level */
	HAL_GPIO_WritePin(GPIOD, LED3_Pin | LED2_Pin, GPIO_PIN_RESET);

	/*Configure GPIO pin Output Level */
	HAL_GPIO_WritePin(LED4_GPIO_Port, LED4_Pin, GPIO_PIN_RESET);

	/*Configure GPIO pin Output Level */
	HAL_GPIO_WritePin(LED1_GPIO_Port, LED1_Pin, GPIO_PIN_RESET);

	/*Configure GPIO pin Output Level */
	HAL_GPIO_WritePin(GPIOB, OTG_FS1_PowerSwitchOn_Pin | EXT_RESET_Pin,
			GPIO_PIN_RESET);

	/*Configure GPIO pin Output Level */
	HAL_GPIO_WritePin(LCD_BL_CTRL_GPIO_Port, LCD_BL_CTRL_Pin, GPIO_PIN_RESET);

	/*Configure GPIO pins : SAI1_FSA_Pin SAI1_SCKA_Pin */
	GPIO_InitStruct.Pin = SAI1_FSA_Pin | SAI1_SCKA_Pin;
	GPIO_InitStruct.Mode = GPIO_MODE_AF_PP;
	GPIO_InitStruct.Pull = GPIO_NOPULL;
	GPIO_InitStruct.Speed = GPIO_SPEED_FREQ_LOW;
	GPIO_InitStruct.Alternate = GPIO_AF6_SAI1;
	HAL_GPIO_Init(GPIOE, &GPIO_InitStruct);

	/*Configure GPIO pins : SPKR_HP_Pin AUDIO_RST_Pin */
	GPIO_InitStruct.Pin = SPKR_HP_Pin | AUDIO_RST_Pin;
	GPIO_InitStruct.Mode = GPIO_MODE_OUTPUT_PP;
	GPIO_InitStruct.Pull = GPIO_NOPULL;
	GPIO_InitStruct.Speed = GPIO_SPEED_FREQ_LOW;
	HAL_GPIO_Init(GPIOE, &GPIO_InitStruct);

	/*Configure GPIO pins : ARDUINO_USART6_TX_Pin USART6_RX_Pin */
	GPIO_InitStruct.Pin = ARDUINO_USART6_TX_Pin | USART6_RX_Pin;
	GPIO_InitStruct.Mode = GPIO_MODE_AF_PP;
	GPIO_InitStruct.Pull = GPIO_NOPULL;
	GPIO_InitStruct.Speed = GPIO_SPEED_FREQ_VERY_HIGH;
	GPIO_InitStruct.Alternate = GPIO_AF8_USART6;
	HAL_GPIO_Init(GPIOG, &GPIO_InitStruct);

	/*Configure GPIO pins : FMC_NBL1_Pin FMC_NBL0_Pin D5_Pin D6_Pin
	 D8_Pin D11_Pin D4_Pin D7_Pin
	 D9_Pin D12_Pin D10_Pin */
	GPIO_InitStruct.Pin = FMC_NBL1_Pin | FMC_NBL0_Pin | D5_Pin | D6_Pin | D8_Pin
			| D11_Pin | D4_Pin | D7_Pin | D9_Pin | D12_Pin | D10_Pin;
	GPIO_InitStruct.Mode = GPIO_MODE_AF_PP;
	GPIO_InitStruct.Pull = GPIO_NOPULL;
	GPIO_InitStruct.Speed = GPIO_SPEED_FREQ_VERY_HIGH;
	GPIO_InitStruct.Alternate = GPIO_AF12_FMC;
	HAL_GPIO_Init(GPIOE, &GPIO_InitStruct);

	/*Configure GPIO pins : I2C1_SCL_Pin I2C1_SDA_Pin */
	GPIO_InitStruct.Pin = I2C1_SCL_Pin | I2C1_SDA_Pin;
	GPIO_InitStruct.Mode = GPIO_MODE_AF_OD;
	GPIO_InitStruct.Pull = GPIO_PULLUP;
	GPIO_InitStruct.Speed = GPIO_SPEED_FREQ_VERY_HIGH;
	GPIO_InitStruct.Alternate = GPIO_AF4_I2C1;
	HAL_GPIO_Init(GPIOB, &GPIO_InitStruct);

	/*Configure GPIO pin : I2S3_CK_Pin */
	GPIO_InitStruct.Pin = I2S3_CK_Pin;
	GPIO_InitStruct.Mode = GPIO_MODE_AF_PP;
	GPIO_InitStruct.Pull = GPIO_NOPULL;
	GPIO_InitStruct.Speed = GPIO_SPEED_FREQ_LOW;
	GPIO_InitStruct.Alternate = GPIO_AF6_SPI3;
	HAL_GPIO_Init(I2S3_CK_GPIO_Port, &GPIO_InitStruct);

	/*Configure GPIO pins : uSD_CLK_Pin uSD_D3_Pin uSD_D2_Pin uSD_D1_Pin
	 uSD_D0_Pin */
	GPIO_InitStruct.Pin = uSD_CLK_Pin | uSD_D3_Pin | uSD_D2_Pin | uSD_D1_Pin
			| uSD_D0_Pin;
	GPIO_InitStruct.Mode = GPIO_MODE_AF_PP;
	GPIO_InitStruct.Pull = GPIO_NOPULL;
	GPIO_InitStruct.Speed = GPIO_SPEED_FREQ_VERY_HIGH;
	GPIO_InitStruct.Alternate = GPIO_AF12_SDIO;
	HAL_GPIO_Init(GPIOC, &GPIO_InitStruct);

	/*Configure GPIO pin : OTG_FS1_OverCurrent_Pin */
	GPIO_InitStruct.Pin = OTG_FS1_OverCurrent_Pin;
	GPIO_InitStruct.Mode = GPIO_MODE_IT_RISING;
	GPIO_InitStruct.Pull = GPIO_NOPULL;
	HAL_GPIO_Init(OTG_FS1_OverCurrent_GPIO_Port, &GPIO_InitStruct);

	/*Configure GPIO pin : QSPI_BK1_NCS_Pin */
	GPIO_InitStruct.Pin = QSPI_BK1_NCS_Pin;
	GPIO_InitStruct.Mode = GPIO_MODE_AF_PP;
	GPIO_InitStruct.Pull = GPIO_NOPULL;
	GPIO_InitStruct.Speed = GPIO_SPEED_FREQ_VERY_HIGH;
	GPIO_InitStruct.Alternate = GPIO_AF10_QSPI;
	HAL_GPIO_Init(QSPI_BK1_NCS_GPIO_Port, &GPIO_InitStruct);

	/*Configure GPIO pins : SDNCAS_Pin SDCLK_Pin A11_Pin A10_Pin
	 PG5 PG4 */
	GPIO_InitStruct.Pin = SDNCAS_Pin | SDCLK_Pin | A11_Pin | A10_Pin
			| GPIO_PIN_5 | GPIO_PIN_4;
	GPIO_InitStruct.Mode = GPIO_MODE_AF_PP;
	GPIO_InitStruct.Pull = GPIO_NOPULL;
	GPIO_InitStruct.Speed = GPIO_SPEED_FREQ_VERY_HIGH;
	GPIO_InitStruct.Alternate = GPIO_AF12_FMC;
	HAL_GPIO_Init(GPIOG, &GPIO_InitStruct);

	/*Configure GPIO pin : MIC_DATA_Pin */
	GPIO_InitStruct.Pin = MIC_DATA_Pin;
	GPIO_InitStruct.Mode = GPIO_MODE_AF_PP;
	GPIO_InitStruct.Pull = GPIO_NOPULL;
	GPIO_InitStruct.Speed = GPIO_SPEED_FREQ_LOW;
	GPIO_InitStruct.Alternate = GPIO_AF6_SAI1;
	HAL_GPIO_Init(MIC_DATA_GPIO_Port, &GPIO_InitStruct);

	/*Configure GPIO pins : D2_Pin D3_Pin D1_Pin D15_Pin
	 D0_Pin D14_Pin D13_Pin */
	GPIO_InitStruct.Pin = D2_Pin | D3_Pin | D1_Pin | D15_Pin | D0_Pin | D14_Pin
			| D13_Pin;
	GPIO_InitStruct.Mode = GPIO_MODE_AF_PP;
	GPIO_InitStruct.Pull = GPIO_NOPULL;
	GPIO_InitStruct.Speed = GPIO_SPEED_FREQ_VERY_HIGH;
	GPIO_InitStruct.Alternate = GPIO_AF12_FMC;
	HAL_GPIO_Init(GPIOD, &GPIO_InitStruct);

	/*Configure GPIO pins : FMC_NBL2_Pin D27_Pin D26_Pin FMC_NBL3_Pin
	 D29_Pin D31_Pin D28_Pin D25_Pin
	 D30_Pin D24_Pin */
	GPIO_InitStruct.Pin = FMC_NBL2_Pin | D27_Pin | D26_Pin | FMC_NBL3_Pin
			| D29_Pin | D31_Pin | D28_Pin | D25_Pin | D30_Pin | D24_Pin;
	GPIO_InitStruct.Mode = GPIO_MODE_AF_PP;
	GPIO_InitStruct.Pull = GPIO_NOPULL;
	GPIO_InitStruct.Speed = GPIO_SPEED_FREQ_VERY_HIGH;
	GPIO_InitStruct.Alternate = GPIO_AF12_FMC;
	HAL_GPIO_Init(GPIOI, &GPIO_InitStruct);

	/*Configure GPIO pins : LED3_Pin LED2_Pin */
	GPIO_InitStruct.Pin = LED3_Pin | LED2_Pin;
	GPIO_InitStruct.Mode = GPIO_MODE_OUTPUT_OD;
	GPIO_InitStruct.Pull = GPIO_NOPULL;
	GPIO_InitStruct.Speed = GPIO_SPEED_FREQ_LOW;
	HAL_GPIO_Init(GPIOD, &GPIO_InitStruct);

	/*Configure GPIO pins : A0_Pin A1_Pin A2_Pin A3_Pin
	 A4_Pin A5_Pin A6_Pin A9_Pin
	 A7_Pin A8_Pin SDNMT48LC4M32B2B5_6A_RAS_RAS___Pin */
	GPIO_InitStruct.Pin =
	A0_Pin | A1_Pin | A2_Pin | A3_Pin | A4_Pin | A5_Pin | A6_Pin | A9_Pin
			| A7_Pin | A8_Pin | SDNMT48LC4M32B2B5_6A_RAS_RAS___Pin;
	GPIO_InitStruct.Mode = GPIO_MODE_AF_PP;
	GPIO_InitStruct.Pull = GPIO_NOPULL;
	GPIO_InitStruct.Speed = GPIO_SPEED_FREQ_VERY_HIGH;
	GPIO_InitStruct.Alternate = GPIO_AF12_FMC;
	HAL_GPIO_Init(GPIOF, &GPIO_InitStruct);

	/*Configure GPIO pin : LED4_Pin */
	GPIO_InitStruct.Pin = LED4_Pin;
	GPIO_InitStruct.Mode = GPIO_MODE_OUTPUT_OD;
	GPIO_InitStruct.Pull = GPIO_NOPULL;
	GPIO_InitStruct.Speed = GPIO_SPEED_FREQ_LOW;
	HAL_GPIO_Init(LED4_GPIO_Port, &GPIO_InitStruct);

	/*Configure GPIO pin : uSD_CMD_Pin */
	GPIO_InitStruct.Pin = uSD_CMD_Pin;
	GPIO_InitStruct.Mode = GPIO_MODE_AF_PP;
	GPIO_InitStruct.Pull = GPIO_NOPULL;
	GPIO_InitStruct.Speed = GPIO_SPEED_FREQ_VERY_HIGH;
	GPIO_InitStruct.Alternate = GPIO_AF12_SDIO;
	HAL_GPIO_Init(uSD_CMD_GPIO_Port, &GPIO_InitStruct);

	/*Configure GPIO pins : D23_Pin D21_Pin D22_Pin SDNE0_Pin
	 SDCKE0_Pin D20_Pin D17_Pin D19_Pin
	 D16_Pin D18_Pin */
	GPIO_InitStruct.Pin = D23_Pin | D21_Pin | D22_Pin | SDNE0_Pin | SDCKE0_Pin
			| D20_Pin | D17_Pin | D19_Pin | D16_Pin | D18_Pin;
	GPIO_InitStruct.Mode = GPIO_MODE_AF_PP;
	GPIO_InitStruct.Pull = GPIO_NOPULL;
	GPIO_InitStruct.Speed = GPIO_SPEED_FREQ_VERY_HIGH;
	GPIO_InitStruct.Alternate = GPIO_AF12_FMC;
	HAL_GPIO_Init(GPIOH, &GPIO_InitStruct);

	/*Configure GPIO pins : I2C2_SCL_Pin I2C2_SDA_Pin */
	GPIO_InitStruct.Pin = I2C2_SCL_Pin | I2C2_SDA_Pin;
	GPIO_InitStruct.Mode = GPIO_MODE_AF_OD;
	GPIO_InitStruct.Pull = GPIO_PULLUP;
	GPIO_InitStruct.Speed = GPIO_SPEED_FREQ_VERY_HIGH;
	GPIO_InitStruct.Alternate = GPIO_AF4_I2C2;
	HAL_GPIO_Init(GPIOH, &GPIO_InitStruct);

	/*Configure GPIO pin : SAI1_MCLKA_Pin */
	GPIO_InitStruct.Pin = SAI1_MCLKA_Pin;
	GPIO_InitStruct.Mode = GPIO_MODE_AF_PP;
	GPIO_InitStruct.Pull = GPIO_NOPULL;
	GPIO_InitStruct.Speed = GPIO_SPEED_FREQ_LOW;
	GPIO_InitStruct.Alternate = GPIO_AF6_SAI1;
	HAL_GPIO_Init(SAI1_MCLKA_GPIO_Port, &GPIO_InitStruct);

	/*Configure GPIO pin : LED1_Pin */
	GPIO_InitStruct.Pin = LED1_Pin;
	GPIO_InitStruct.Mode = GPIO_MODE_OUTPUT_OD;
	GPIO_InitStruct.Pull = GPIO_NOPULL;
	GPIO_InitStruct.Speed = GPIO_SPEED_FREQ_LOW;
	HAL_GPIO_Init(LED1_GPIO_Port, &GPIO_InitStruct);

	/*Configure GPIO pins : QSPI_BK1_IO2_Pin QSPI_BK1_IO3_Pin QSPI_CLK_Pin */
	GPIO_InitStruct.Pin = QSPI_BK1_IO2_Pin | QSPI_BK1_IO3_Pin | QSPI_CLK_Pin;
	GPIO_InitStruct.Mode = GPIO_MODE_AF_PP;
	GPIO_InitStruct.Pull = GPIO_NOPULL;
	GPIO_InitStruct.Speed = GPIO_SPEED_FREQ_VERY_HIGH;
	GPIO_InitStruct.Alternate = GPIO_AF9_QSPI;
	HAL_GPIO_Init(GPIOF, &GPIO_InitStruct);

	/*Configure GPIO pins : QSPI_BK1_IO1_Pin QSPI_BK1_IO0_Pin */
	GPIO_InitStruct.Pin = QSPI_BK1_IO1_Pin | QSPI_BK1_IO0_Pin;
	GPIO_InitStruct.Mode = GPIO_MODE_AF_PP;
	GPIO_InitStruct.Pull = GPIO_NOPULL;
	GPIO_InitStruct.Speed = GPIO_SPEED_FREQ_VERY_HIGH;
	GPIO_InitStruct.Alternate = GPIO_AF10_QSPI;
	HAL_GPIO_Init(GPIOF, &GPIO_InitStruct);

	/*Configure GPIO pin : SDNWE_Pin */
	GPIO_InitStruct.Pin = SDNWE_Pin;
	GPIO_InitStruct.Mode = GPIO_MODE_AF_PP;
	GPIO_InitStruct.Pull = GPIO_NOPULL;
	GPIO_InitStruct.Speed = GPIO_SPEED_FREQ_VERY_HIGH;
	GPIO_InitStruct.Alternate = GPIO_AF12_FMC;
	HAL_GPIO_Init(SDNWE_GPIO_Port, &GPIO_InitStruct);

	/*Configure GPIO pins : OTG_FS1_PowerSwitchOn_Pin EXT_RESET_Pin */
	GPIO_InitStruct.Pin = OTG_FS1_PowerSwitchOn_Pin | EXT_RESET_Pin;
	GPIO_InitStruct.Mode = GPIO_MODE_OUTPUT_PP;
	GPIO_InitStruct.Pull = GPIO_NOPULL;
	GPIO_InitStruct.Speed = GPIO_SPEED_FREQ_LOW;
	HAL_GPIO_Init(GPIOB, &GPIO_InitStruct);

	/*Configure GPIO pin : MIC_CK_Pin */
	GPIO_InitStruct.Pin = MIC_CK_Pin;
	GPIO_InitStruct.Mode = GPIO_MODE_AF_PP;
	GPIO_InitStruct.Pull = GPIO_NOPULL;
	GPIO_InitStruct.Speed = GPIO_SPEED_FREQ_LOW;
	GPIO_InitStruct.Alternate = GPIO_AF2_TIM4;
	HAL_GPIO_Init(MIC_CK_GPIO_Port, &GPIO_InitStruct);

	/*Configure GPIO pin : uSD_Detect_Pin */
	GPIO_InitStruct.Pin = uSD_Detect_Pin;
	GPIO_InitStruct.Mode = GPIO_MODE_INPUT;
	GPIO_InitStruct.Pull = GPIO_NOPULL;
	HAL_GPIO_Init(uSD_Detect_GPIO_Port, &GPIO_InitStruct);

	/*Configure GPIO pin : LCD_INT_Pin */
	GPIO_InitStruct.Pin = LCD_INT_Pin;
	GPIO_InitStruct.Mode = GPIO_MODE_IT_RISING;
	GPIO_InitStruct.Pull = GPIO_NOPULL;
	HAL_GPIO_Init(LCD_INT_GPIO_Port, &GPIO_InitStruct);

	/*Configure GPIO pin : DSI_TE_Pin */
	GPIO_InitStruct.Pin = DSI_TE_Pin;
	GPIO_InitStruct.Mode = GPIO_MODE_AF_PP;
	GPIO_InitStruct.Pull = GPIO_NOPULL;
	GPIO_InitStruct.Speed = GPIO_SPEED_FREQ_VERY_HIGH;
	GPIO_InitStruct.Alternate = GPIO_AF13_DSI;
	HAL_GPIO_Init(DSI_TE_GPIO_Port, &GPIO_InitStruct);

	/*Configure GPIO pin : LCD_BL_CTRL_Pin */
	GPIO_InitStruct.Pin = LCD_BL_CTRL_Pin;
	GPIO_InitStruct.Mode = GPIO_MODE_OUTPUT_PP;
	GPIO_InitStruct.Pull = GPIO_NOPULL;
	GPIO_InitStruct.Speed = GPIO_SPEED_FREQ_LOW;
	HAL_GPIO_Init(LCD_BL_CTRL_GPIO_Port, &GPIO_InitStruct);

}

void _Error_Handler(char * file, int line) {
	while (1) {
	}
}

/************************ (C) COPYRIGHT STMicroelectronics *****END OF FILE****/
